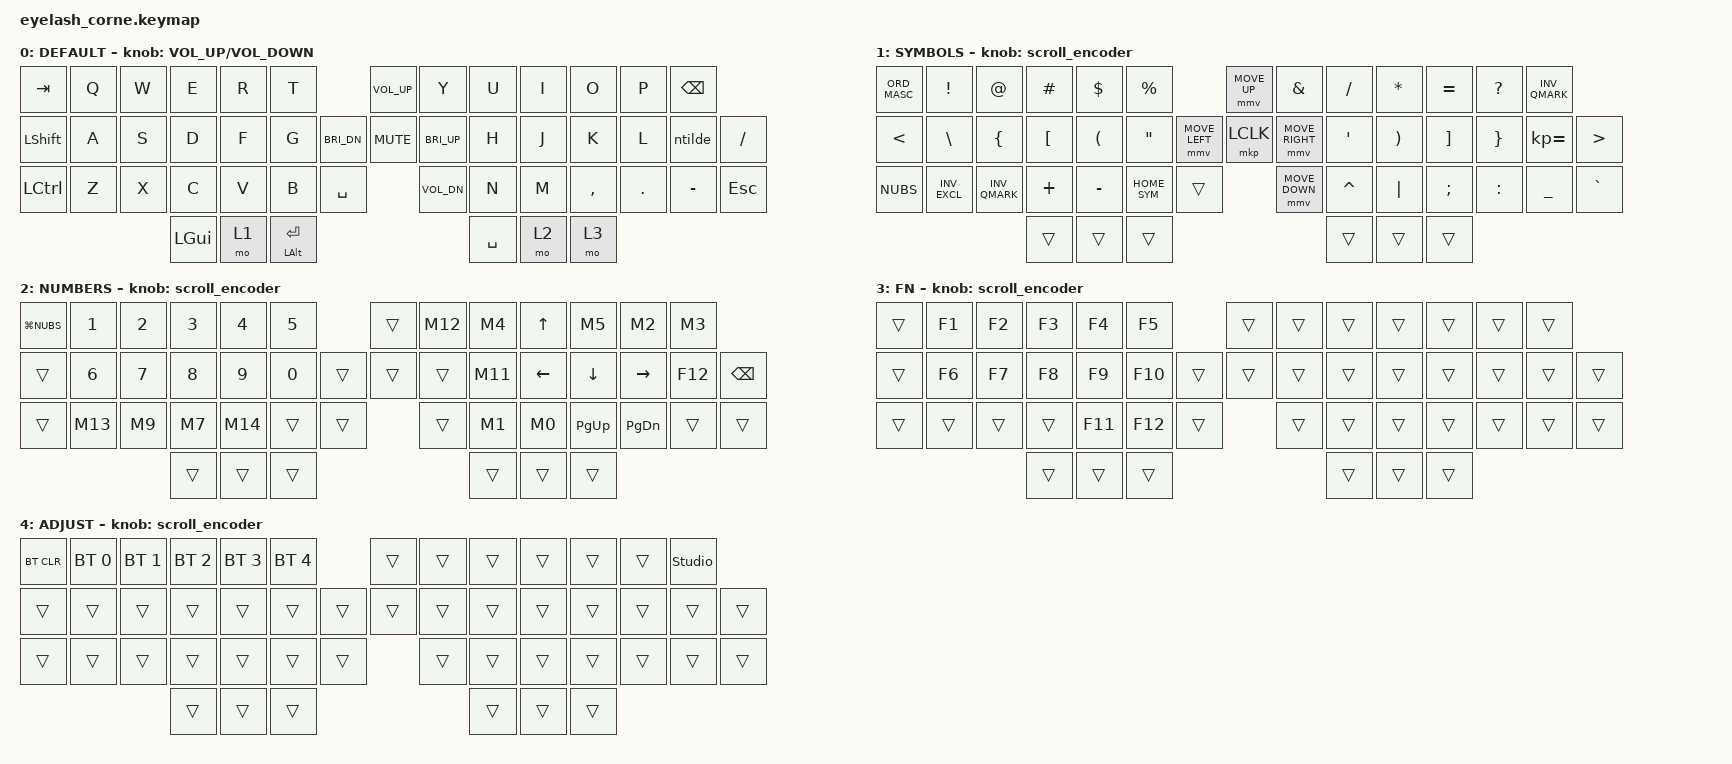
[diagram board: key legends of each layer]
#define ZMK_POINTING_DEFAULT_MOVE_VAL 1200  // 600
#define ZMK_POINTING_DEFAULT_SCRL_VAL 25   // 10

#include <input/processors.dtsi>
#include <zephyr/dt-bindings/input/input-event-codes.h>
#include <behaviors.dtsi>
#include <dt-bindings/zmk/bt.h>
#include <dt-bindings/zmk/keys.h>
#include <dt-bindings/zmk/outputs.h>
#include <dt-bindings/zmk/pointing.h>
#include <dt-bindings/zmk/rgb.h>

// Layer definitions
#define DEFAULT 0
#define SYMBOLS   1
#define NUMBERS   2
#define FN 3
#define ADJUST  4

&mmv_input_listener { input-processors = <&zip_xy_scaler 2 1>; };

&msc_input_listener { input-processors = <&zip_scroll_scaler 2 1>; };

&msc {
    acceleration-exponent = <1>;      // 0
    time-to-max-speed-ms = <100>;       // 300
    delay-ms = <0>;                   // 0
};

&mmv {
    time-to-max-speed-ms = <500>;
    acceleration-exponent = <1>;
    trigger-period-ms = <16>;
};

/ {
    behaviors {
        td0: td0 {
            compatible = "zmk,behavior-tap-dance";
            display-name = "Shift/Caps Lock Tap Dance";
            #binding-cells = <0>;
            bindings = <&kp LEFT_SHIFT>, <&kp CAPS>;
        };

        ntilde: ntilde {
            compatible = "zmk,behavior-mod-morph";
            display-name = "ñ / Ñ";
            #binding-cells = <0>;
            bindings = <&N_TILDE>, <&N_TILDE_UPPER>;
            mods = <(MOD_LSFT|MOD_RSFT)>;
        };
    };

    conditional_layers {
        compatible = "zmk,conditional-layers";
        tri_layer {
            if-layers = <1 2>;    // when LOWER (1) and RAISE (2) are active
            then-layer = <4>;     // activate layer 4
        };
    };

    macros {
        M0: M0 {
            label = "M0";
            compatible = "zmk,behavior-macro";
            #binding-cells = <0>;
            wait-ms = <1>;
            bindings = <&macro_press &kp LCTRL>, <&macro_tap &kp TAB>, <&macro_release &kp LCTRL>;
        };

        M1: M1 {
            label = "M1";
            compatible = "zmk,behavior-macro";
            #binding-cells = <0>;
            wait-ms = <1>;
            bindings = <&macro_press &kp LCTRL &kp RSHFT>, <&macro_tap &kp TAB>, <&macro_release &kp RSHFT &kp LCTRL>;
        };

        M2: M2 {
            label = "M2";
            compatible = "zmk,behavior-macro";
            #binding-cells = <0>;
            wait-ms = <1>;
            bindings = <&macro_press &kp LGUI>, <&macro_tap &kp BSPC>, <&macro_release &kp LGUI>;
        };

        M3: M3 {
            label = "M3";
            compatible = "zmk,behavior-macro";
            #binding-cells = <0>;
            wait-ms = <1>;
            bindings = <&macro_press &kp LALT>, <&macro_tap &kp BSPC>, <&macro_release &kp LALT>;
        };

        M4: M4 {
            label = "M4";
            compatible = "zmk,behavior-macro";
            #binding-cells = <0>;
            wait-ms = <1>;
            bindings = <&macro_press &kp LALT>, <&macro_tap &kp LEFT>, <&macro_release &kp LALT>;
        };

        M5: M5 {
            label = "M5";
            compatible = "zmk,behavior-macro";
            #binding-cells = <0>;
            wait-ms = <1>;
            bindings = <&macro_press &kp LALT>, <&macro_tap &kp RIGHT>, <&macro_release &kp LALT>;
        };

        M6: M6 {
            label = "M6";
            compatible = "zmk,behavior-macro";
            #binding-cells = <0>;
            wait-ms = <1>;
            bindings = <&macro_press &kp LCTRL &kp LALT>, <&macro_tap &kp LEFT>, <&macro_release &kp LALT &kp LCTRL>;
        };

        M7: M7 {
            label = "M7";
            compatible = "zmk,behavior-macro";
            #binding-cells = <0>;
            wait-ms = <1>;
            bindings = <&macro_press &kp LCTRL &kp LGUI>, <&macro_tap &kp F>, <&macro_release &kp LGUI &kp LCTRL>;
        };

        M8: M8 {
            label = "M8";
            compatible = "zmk,behavior-macro";
            #binding-cells = <0>;
            wait-ms = <1>;
            bindings = <&macro_press &kp LCTRL &kp LALT>, <&macro_tap &kp RIGHT>, <&macro_release &kp LALT &kp LCTRL>;
        };

        M9: M9 {
            label = "M9";
            compatible = "zmk,behavior-macro";
            #binding-cells = <0>;
            wait-ms = <1>;
            bindings = <&macro_press &kp LCTRL>, <&macro_tap &kp LEFT>, <&macro_release &kp LCTRL>;
        };

        M10: M10 {
            label = "M10";
            compatible = "zmk,behavior-macro";
            #binding-cells = <0>;
            wait-ms = <1>;
            bindings = <&macro_press &kp LCTRL &kp LALT>, <&macro_tap &kp UP>, <&macro_release &kp LALT &kp LCTRL>;
        };

        M11: M11 {
            label = "M11";
            compatible = "zmk,behavior-macro";
            #binding-cells = <0>;
            wait-ms = <1>;
            bindings = <&macro_press &kp LGUI>, <&macro_tap &kp LEFT>, <&macro_release &kp LGUI>;
        };

        M12: M12 {
            label = "M12";
            compatible = "zmk,behavior-macro";
            #binding-cells = <0>;
            wait-ms = <1>;
            bindings = <&macro_press &kp LGUI>, <&macro_tap &kp RIGHT>, <&macro_release &kp LGUI>;
        };

        M13: M13 {
            label = "M13";
            compatible = "zmk,behavior-macro";
            #binding-cells = <0>;
            wait-ms = <1>;
            bindings = <&macro_press &kp LSHFT &kp LCTRL &kp LGUI>, <&macro_tap &kp N4>, <&macro_release &kp LGUI &kp LCTRL &kp LSHFT>;
        };

        M14: M14 {
            label = "M14";
            compatible = "zmk,behavior-macro";
            #binding-cells = <0>;
            wait-ms = <1>;
            bindings = <&macro_press &kp LCTRL>, <&macro_tap &kp RIGHT>, <&macro_release &kp LCTRL>;
        };

        M15: M15 {
            label = "M15";
            compatible = "zmk,behavior-macro";
            #binding-cells = <0>;
            wait-ms = <1>;
            bindings = <&macro_press &kp LALT>, <&macro_tap &kp BSPC>, <&macro_release &kp LALT>;
        };

        N_TILDE: N_TILDE {
            label = "N_TILDE";
            compatible = "zmk,behavior-macro";
            #binding-cells = <0>;
            wait-ms = <1>;
            bindings = <&macro_press &kp RALT>, <&macro_tap &kp N>, <&macro_release &kp RALT>, <&macro_tap &kp N>;
        };

        N_TILDE_UPPER: N_TILDE_UPPER {
            label = "N_TILDE_UPPER";
            compatible = "zmk,behavior-macro";
            #binding-cells = <0>;
            wait-ms = <1>;
            bindings = <&macro_press &kp RALT>, <&macro_tap &kp N>, <&macro_release &kp RALT>, <&macro_tap &kp LS(N)>;
        };

        HOME_SYM: HOME_SYM {
            label = "HOME_SYM";
            compatible = "zmk,behavior-macro";
            #binding-cells = <0>;
            wait-ms = <1>;
            bindings = <&macro_press &kp LSHFT>, <&macro_tap &kp NUBS>, <&macro_release &kp LSHFT>;
        };

        INV_QMARK: INV_QMARK {
            label = "INV_QMARK";
            compatible = "zmk,behavior-macro";
            #binding-cells = <0>;
            wait-ms = <1>;
            bindings = <&macro_press &kp RALT &kp LSHFT>, <&macro_tap &kp QMARK>, <&macro_release &kp LSHFT &kp RALT>;
        };

        INV_EXCL: INV_EXCL {
            label = "INV_EXCL";
            compatible = "zmk,behavior-macro";
            #binding-cells = <0>;
            wait-ms = <1>;
            bindings = <&macro_press &kp RALT>, <&macro_tap &kp N1>, <&macro_release &kp RALT>;
        };

        ORD_MASC: ORD_MASC {
            label = "ORD_MASC";
            compatible = "zmk,behavior-macro";
            #binding-cells = <0>;
            wait-ms = <1>;
            bindings = <&macro_press &kp RALT>, <&macro_tap &kp N0>, <&macro_release &kp RALT>;
        };
    };

    rgb_encoder: rgb_encoder {
        compatible = "zmk,behavior-sensor-rotate";
        #sensor-binding-cells = <0>;
        bindings = <&rgb_ug RGB_BRI>, <&rgb_ug RGB_BRD>;
    };

    scroll_encoder: scroll_encoder {
        compatible = "zmk,behavior-sensor-rotate";
        #sensor-binding-cells = <0>;
        bindings = <&msc SCRL_DOWN>, <&msc SCRL_UP>;

        tap-ms = <100>;
    };

    keymap {
        compatible = "zmk,keymap";
// Add caps and del keys, add funtion keys like play-pause, next, previous.
        default_layer {
            display-name = "DEFAULT";
            bindings = <
&kp TAB    &kp Q  &kp W  &kp E  &kp R  &kp T                &kp C_VOL_UP  &kp Y  &kp U  &kp I  &kp O  &kp P  &kp BSPC
&kp LSHFT &kp A  &kp S  &kp D  &kp F  &kp G  &kp C_BRI_DN &kp C_MUTE &kp C_BRI_UP &kp H  &kp J  &kp K  &kp L &ntilde &kp FSLH
&kp LCTRL  &kp Z  &kp X  &kp C  &kp V  &kp B  &kp SPACE  &kp C_VOL_DN  &kp N  &kp M  &kp COMMA  &kp DOT  &kp MINUS  &kp ESC
                        &kp LGUI &mo 1   &mt LALT RET    &kp SPACE    &mo 2 &mo 3
            >;

            sensor-bindings = <&inc_dec_kp C_VOLUME_UP C_VOLUME_DOWN>;
        };

        symbols_layer {
            display-name = "SYMBOLS";
            bindings = <
&ORD_MASC &kp EXCL &kp AT &kp HASH &kp DLLR &kp PRCNT                     &mmv MOVE_UP &kp AMPS   &kp FSLH   &kp ASTRK  &kp EQUAL  &kp QMARK    &INV_QMARK
&kp LESS_THAN &kp BSLH   &kp LBRC    &kp LBKT   &kp LPAR   &kp DQT   &mmv MOVE_LEFT &mkp LCLK &mmv MOVE_RIGHT &kp SQT    &kp RPAR &kp RBKT &kp RBRC   &kp KP_EQUAL &kp GT
&kp NUBS &INV_EXCL &INV_QMARK &kp PLUS &kp MINUS &HOME_SYM  &trans   &mmv MOVE_DOWN   &kp CARET  &kp PIPE   &kp SEMI   &kp COLON  &kp UNDER    &kp GRAVE
                             &trans     &trans     &trans        &trans        &trans     &trans
>;

        sensor-bindings = <&scroll_encoder>;
        };

        numbers_layer {
            display-name = "NUMBERS";
            bindings = <
&kp LG(NUBS) &kp N1  &kp N2 &kp N3  &kp N4 &kp N5          &trans     &M12 &M4 &kp UP &M5 &M2 &M3
&trans  &kp N6  &kp N7 &kp N8 &kp N9 &kp N0         &trans  &trans &trans &M11 &kp LEFT &kp DOWN &kp RIGHT &kp F12 &kp BSPC
&trans  &M13  &M9  &M7  &M14  &trans   &trans            &trans     &M1 &M0 &kp PG_UP &kp PG_DN &trans &trans
                    &trans  &trans  &trans                       &trans    &trans     &trans
            >;

            sensor-bindings = <&scroll_encoder>;
        };

        fn_layer {
            display-name = "FN";
            bindings = <
&trans &kp F1 &kp F2 &kp F3 &kp F4 &kp F5              &trans     &trans &trans &trans &trans &trans &trans
&trans &kp F6 &kp F7 &kp F8 &kp F9 &kp F10         &trans &trans &trans &trans &trans &trans &trans &trans &trans
&trans &trans &trans &trans &kp F11 &kp F12   &trans      &trans     &trans  &trans &trans &trans &trans &trans
                    &trans  &trans  &trans                       &trans    &trans     &trans
            >;

            sensor-bindings = <&scroll_encoder>;
        };
        adjust_layer {
            display-name = "ADJUST";
            bindings = <
&bt BT_CLR &bt BT_SEL 0 &bt BT_SEL 1 &bt BT_SEL 2 &bt BT_SEL 3 &bt BT_SEL 4    &trans     &trans &trans &trans &trans &trans &studio_unlock
&trans &trans &trans &trans &trans &trans         &trans &trans &trans &trans &trans &trans &trans &trans &trans
&trans &trans &trans &trans &trans &trans   &trans      &trans     &trans  &trans &trans &trans &trans &trans
                    &trans  &trans  &trans                       &trans    &trans     &trans
            >;

            sensor-bindings = <&scroll_encoder>;
        };
    };
};
